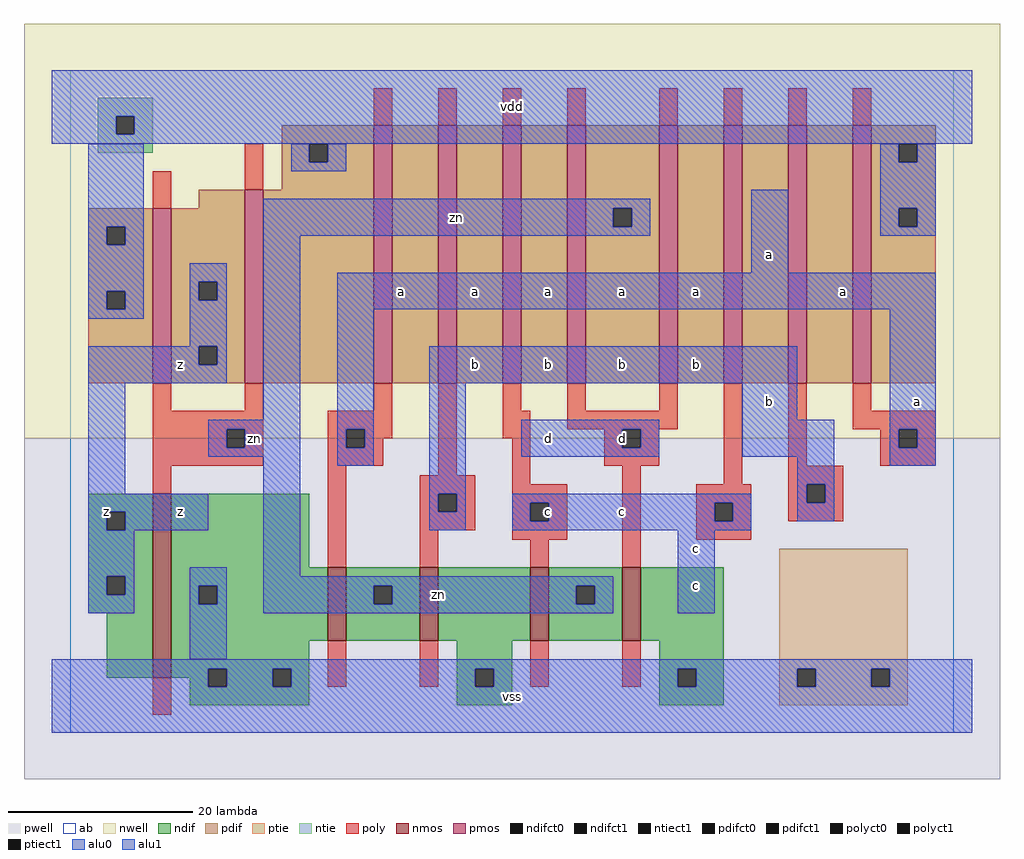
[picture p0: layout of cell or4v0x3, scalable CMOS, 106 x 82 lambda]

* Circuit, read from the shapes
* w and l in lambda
.subckt or4v0x3 a b c d vdd vss z zn
M1 vss zn z vss nfet w=20 l=2
M2 zn a vss vss nfet w=8 l=2
M3 vss b zn vss nfet w=8 l=2
M4 zn c vss vss nfet w=8 l=2
M5 vss d zn vss nfet w=8 l=2
M6 z zn vdd vdd pfet w=19 l=2
M7 vdd zn z vdd pfet w=21 l=2
M8 n1 a vdd vdd pfet w=28 l=2
M9 n2 b n1 vdd pfet w=28 l=2
M10 n3 c n2 vdd pfet w=28 l=2
M11 zn d n3 vdd pfet w=28 l=2
M12 n4 d zn vdd pfet w=28 l=2
M13 n5 c n4 vdd pfet w=28 l=2
M14 n6 b n5 vdd pfet w=28 l=2
M15 vdd a n6 vdd pfet w=28 l=2
.ends

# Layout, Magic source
magic
tech scmos
<< ab >>
rect 0 0 96 72
<< nwell >>
rect -5 32 101 77
<< pwell >>
rect -5 -5 101 32
<< poly >>
rect 33 66 35 70
rect 40 66 42 70
rect 47 66 49 70
rect 54 66 56 70
rect 64 66 66 70
rect 71 66 73 70
rect 78 66 80 70
rect 85 66 87 70
rect 9 57 11 61
rect 19 59 21 64
rect 9 35 11 38
rect 19 35 21 38
rect 33 35 35 38
rect 9 33 21 35
rect 9 31 17 33
rect 19 31 21 33
rect 9 29 21 31
rect 28 33 35 35
rect 28 31 30 33
rect 32 32 35 33
rect 32 31 34 32
rect 28 29 34 31
rect 9 26 11 29
rect 28 18 30 29
rect 40 28 42 38
rect 47 35 49 38
rect 54 35 56 38
rect 64 35 66 38
rect 47 32 50 35
rect 54 33 66 35
rect 38 26 44 28
rect 38 24 40 26
rect 42 24 44 26
rect 38 22 44 24
rect 48 27 50 32
rect 58 31 60 33
rect 62 31 64 33
rect 58 29 64 31
rect 48 25 54 27
rect 48 23 50 25
rect 52 23 54 25
rect 38 18 40 22
rect 48 21 54 23
rect 50 18 52 21
rect 60 18 62 29
rect 71 27 73 38
rect 78 29 80 38
rect 85 35 87 38
rect 85 33 94 35
rect 88 31 90 33
rect 92 31 94 33
rect 88 29 94 31
rect 78 27 84 29
rect 68 25 74 27
rect 68 23 70 25
rect 72 23 74 25
rect 78 25 80 27
rect 82 25 84 27
rect 78 23 84 25
rect 68 21 74 23
rect 9 2 11 6
rect 28 5 30 10
rect 38 5 40 10
rect 50 5 52 10
rect 60 5 62 10
<< ndif >>
rect 2 24 9 26
rect 2 22 4 24
rect 6 22 9 24
rect 2 17 9 22
rect 2 15 4 17
rect 6 15 9 17
rect 2 13 9 15
rect 4 6 9 13
rect 11 18 26 26
rect 11 16 28 18
rect 11 14 14 16
rect 16 14 28 16
rect 11 10 28 14
rect 30 16 38 18
rect 30 14 33 16
rect 35 14 38 16
rect 30 10 38 14
rect 40 10 50 18
rect 52 16 60 18
rect 52 14 55 16
rect 57 14 60 16
rect 52 10 60 14
rect 62 10 71 18
rect 11 7 26 10
rect 11 6 15 7
rect 13 5 15 6
rect 17 5 22 7
rect 24 5 26 7
rect 42 7 48 10
rect 42 5 44 7
rect 46 5 48 7
rect 64 7 71 10
rect 64 5 66 7
rect 68 5 71 7
rect 13 3 26 5
rect 42 3 48 5
rect 64 3 71 5
<< pdif >>
rect 23 64 33 66
rect 23 62 26 64
rect 28 62 33 64
rect 23 59 33 62
rect 14 57 19 59
rect 2 55 9 57
rect 2 53 4 55
rect 6 53 9 55
rect 2 48 9 53
rect 2 46 4 48
rect 6 46 9 48
rect 2 38 9 46
rect 11 49 19 57
rect 11 47 14 49
rect 16 47 19 49
rect 11 42 19 47
rect 11 40 14 42
rect 16 40 19 42
rect 11 38 19 40
rect 21 38 33 59
rect 35 38 40 66
rect 42 38 47 66
rect 49 38 54 66
rect 56 57 64 66
rect 56 55 59 57
rect 61 55 64 57
rect 56 38 64 55
rect 66 38 71 66
rect 73 38 78 66
rect 80 38 85 66
rect 87 64 94 66
rect 87 62 90 64
rect 92 62 94 64
rect 87 57 94 62
rect 87 55 90 57
rect 92 55 94 57
rect 87 38 94 55
<< alu1 >>
rect -2 67 98 72
rect -2 65 5 67
rect 7 65 98 67
rect -2 64 98 65
rect 13 49 17 51
rect 13 47 14 49
rect 16 47 17 49
rect 13 42 17 47
rect 2 40 14 42
rect 16 40 17 42
rect 2 38 17 40
rect 2 26 6 38
rect 74 50 78 59
rect 2 24 15 26
rect 2 22 4 24
rect 6 22 15 24
rect 2 17 7 22
rect 2 15 4 17
rect 6 15 7 17
rect 2 13 7 15
rect 29 46 94 50
rect 29 33 33 46
rect 29 31 30 33
rect 32 31 33 33
rect 29 29 33 31
rect 39 38 79 42
rect 39 26 43 38
rect 73 34 79 38
rect 49 33 64 34
rect 49 31 60 33
rect 62 31 64 33
rect 49 30 64 31
rect 73 30 83 34
rect 79 27 83 30
rect 89 33 94 46
rect 89 31 90 33
rect 92 31 94 33
rect 89 29 94 31
rect 39 24 40 26
rect 42 24 43 26
rect 39 22 43 24
rect 48 25 74 26
rect 48 23 50 25
rect 52 23 70 25
rect 72 23 74 25
rect 79 25 80 27
rect 82 25 83 27
rect 79 23 83 25
rect 48 22 74 23
rect 66 13 70 22
rect -2 7 98 8
rect -2 5 15 7
rect 17 5 22 7
rect 24 5 44 7
rect 46 5 66 7
rect 68 5 79 7
rect 81 5 87 7
rect 89 5 98 7
rect -2 0 98 5
<< ptie >>
rect 77 7 91 20
rect 77 5 79 7
rect 81 5 87 7
rect 89 5 91 7
rect 77 3 91 5
<< ntie >>
rect 3 67 9 69
rect 3 65 5 67
rect 7 65 9 67
rect 3 63 9 65
<< nmos >>
rect 9 6 11 26
rect 28 10 30 18
rect 38 10 40 18
rect 50 10 52 18
rect 60 10 62 18
<< pmos >>
rect 9 38 11 57
rect 19 38 21 59
rect 33 38 35 66
rect 40 38 42 66
rect 47 38 49 66
rect 54 38 56 66
rect 64 38 66 66
rect 71 38 73 66
rect 78 38 80 66
rect 85 38 87 66
<< polyct0 >>
rect 17 31 19 33
<< polyct1 >>
rect 30 31 32 33
rect 40 24 42 26
rect 60 31 62 33
rect 50 23 52 25
rect 90 31 92 33
rect 70 23 72 25
rect 80 25 82 27
<< ndifct0 >>
rect 14 14 16 16
rect 33 14 35 16
rect 55 14 57 16
<< ndifct1 >>
rect 4 22 6 24
rect 4 15 6 17
rect 15 5 17 7
rect 22 5 24 7
rect 44 5 46 7
rect 66 5 68 7
<< ntiect1 >>
rect 5 65 7 67
<< ptiect1 >>
rect 79 5 81 7
rect 87 5 89 7
<< pdifct0 >>
rect 26 62 28 64
rect 4 53 6 55
rect 4 46 6 48
rect 59 55 61 57
rect 90 62 92 64
rect 90 55 92 57
<< pdifct1 >>
rect 14 47 16 49
rect 14 40 16 42
<< alu0 >>
rect 2 55 8 64
rect 24 62 26 64
rect 28 62 30 64
rect 24 61 30 62
rect 88 62 90 64
rect 92 62 94 64
rect 2 53 4 55
rect 6 53 8 55
rect 2 48 8 53
rect 21 57 63 58
rect 21 55 59 57
rect 61 55 63 57
rect 21 54 63 55
rect 2 46 4 48
rect 6 46 8 48
rect 2 45 8 46
rect 21 34 25 54
rect 88 57 94 62
rect 88 55 90 57
rect 92 55 94 57
rect 88 54 94 55
rect 15 33 25 34
rect 15 31 17 33
rect 19 31 25 33
rect 15 30 25 31
rect 13 16 17 18
rect 13 14 14 16
rect 16 14 17 16
rect 13 8 17 14
rect 21 17 25 30
rect 21 16 59 17
rect 21 14 33 16
rect 35 14 55 16
rect 57 14 59 16
rect 21 13 59 14
<< labels >>
rlabel alu0 20 32 20 32 6 zn
rlabel alu0 40 15 40 15 6 zn
rlabel alu0 42 56 42 56 6 zn
rlabel alu1 4 24 4 24 6 z
rlabel alu1 12 24 12 24 6 z
rlabel alu1 12 40 12 40 6 z
rlabel alu1 48 4 48 4 6 vss
rlabel alu1 52 24 52 24 6 c
rlabel alu1 52 32 52 32 6 d
rlabel alu1 44 40 44 40 6 b
rlabel alu1 52 40 52 40 6 b
rlabel alu1 36 48 36 48 6 a
rlabel alu1 44 48 44 48 6 a
rlabel alu1 52 48 52 48 6 a
rlabel alu1 48 68 48 68 6 vdd
rlabel alu1 68 16 68 16 6 c
rlabel alu1 60 24 60 24 6 c
rlabel alu1 68 20 68 20 6 c
rlabel alu1 60 32 60 32 6 d
rlabel alu1 60 40 60 40 6 b
rlabel alu1 68 40 68 40 6 b
rlabel alu1 76 36 76 36 6 b
rlabel alu1 60 48 60 48 6 a
rlabel alu1 76 52 76 52 6 a
rlabel alu1 68 48 68 48 6 a
rlabel alu1 92 36 92 36 6 a
rlabel alu1 84 48 84 48 6 a
<< end >>
